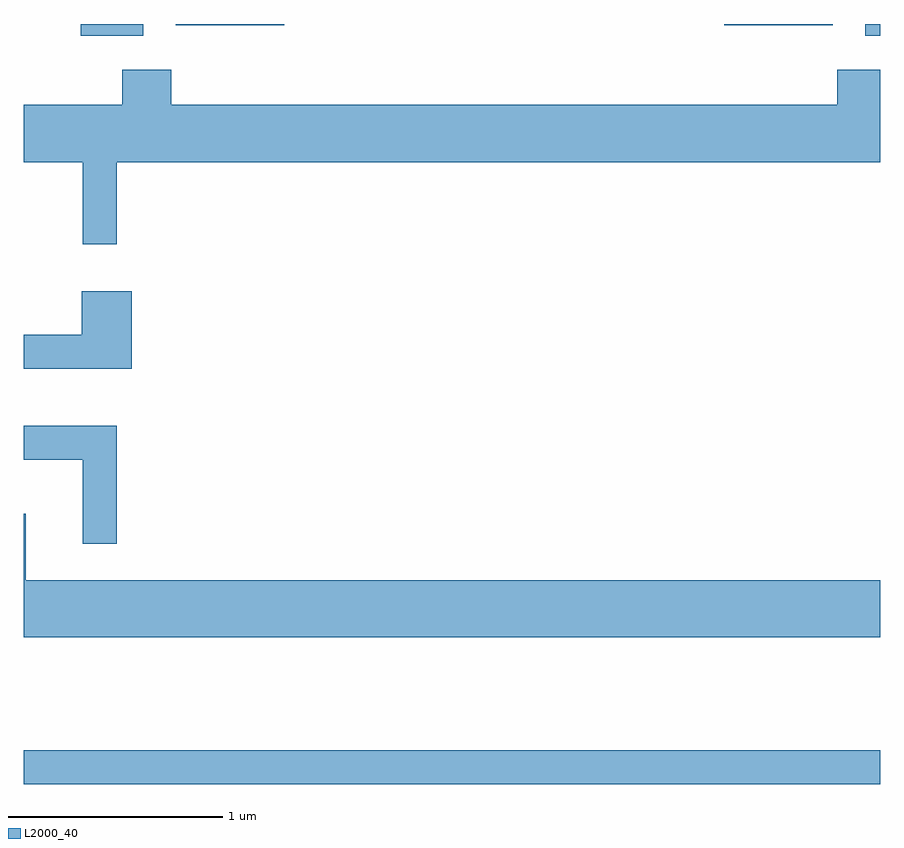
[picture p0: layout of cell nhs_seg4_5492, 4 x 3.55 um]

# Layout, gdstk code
import gdstk
lib = gdstk.Library(unit=1e-6, precision=1e-09)
def R(c, l, rs):  # rectangles x0, y0, x1, y1
    for r in rs: c.add(gdstk.rectangle(r[:2], r[2:], *l))
def P(c, l, *ps):  # polygons
    for p in ps: c.add(gdstk.Polygon(p, *l))
L2000_40 = (2000, 40)

nhs_seg4_5492 = lib.new_cell('nhs_seg4_5492')
R(nhs_seg4_5492, L2000_40, [(345.611,1358.431,349.611,1358.589), (345.876,1361.926,346.169,1361.982), (349.541,1361.926,349.611,1361.982), (346.321,1361.976,346.828,1361.982), (348.883,1361.976,349.389,1361.982)])
P(nhs_seg4_5492, L2000_40, [(346.044,1361.336),(349.611,1361.336),(349.611,1361.769),(349.411,1361.769),(349.411,1361.604),(346.299,1361.604),(346.299,1361.769),(346.071,1361.769),(346.071,1361.604),(345.611,1361.604),(345.611,1361.336),(345.886,1361.336),(345.886,1360.953),(346.044,1360.953)],
  [(346.114,1360.734),(345.881,1360.734),(345.881,1360.529),(345.611,1360.529),(345.611,1360.371),(346.114,1360.371)],
  [(346.044,1360.104),(345.611,1360.104),(345.611,1359.946),(345.886,1359.946),(345.886,1359.553),(346.044,1359.553)],
  [(349.611,1359.384),(345.619,1359.384),(345.619,1359.694),(345.611,1359.694),(345.611,1359.116),(349.611,1359.116)])

lib.write_gds('nhs_seg4_5492.gds')
